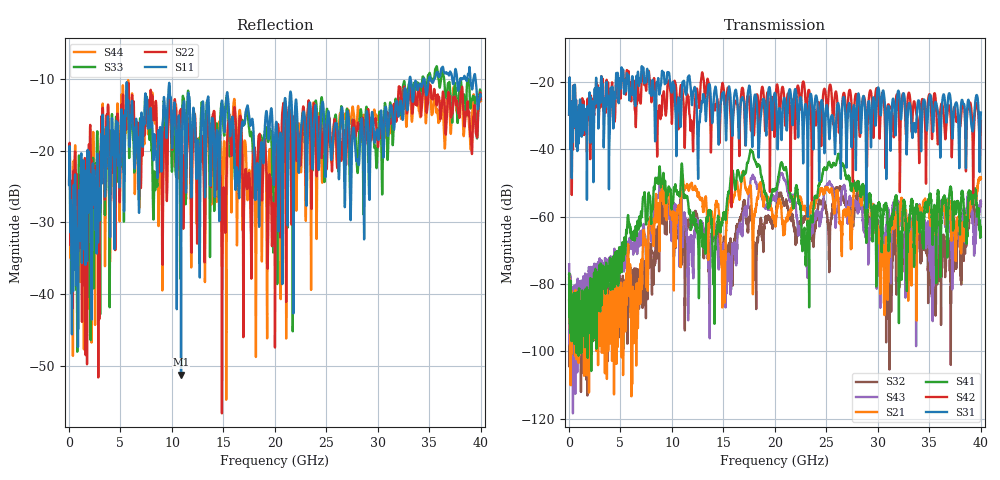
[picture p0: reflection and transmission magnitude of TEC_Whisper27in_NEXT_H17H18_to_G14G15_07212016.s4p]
! TE Connectivity
! H17H18-G14G15_NEXT
!! PART DESCRIPTION: Whisper 27in Megtron 6 HVLP-HVLP-HVLP Channel Model, bulkhead 2.92mm test points
!! MODEL DESCRIPTION: System 4-port S-parameter
!! MODEL STATUS: Measured
!! MODEL GEOMETRY: Channel Model
!! MODEL FREQUENCY RANGE: DC to 40 GHz in 10 MHz frequency steps
!! MODEL EDGE RATE LIMITATION: 12.5 ps (Using conservative 0.5/Fmax rule of thumb)
!! TIME-DOMAIN TRANSFORM CAUTIONS:
!! 1.) Do not simulate transient edge rates faster than the number listed above.  Edge
!!  rates faster than this number contain significant spectral content at frequencies
!!  above the model's highest frequency.
!! 2.) Even when simulating edge rates that are slower than the number listed above, be
!!  aware that the best time resolution possible with a direct iFFT is (1 / 2Fmax).
!!  As a result, time resolution is typically not adequate for most time-domain
!!  simulations unless tricks such as frequency-domain zero-padding and windowing are
!!  used to minimize leakage and aliasing.
!! 3.) Because the model has a uniform frequency step, a direct iFFT will result in an
!!  impulse that that has a time length given by either (1 / Fstep) or (1 / 2Fstep),
!!  depending on the transform being used.  Care has been taken in selecting the
!!  frequency step to ensure a settled impulse response for the model.  Therefore,
!!  convolution with the model's impulse response should present no issues.  However,
!!  if directly concatenating s-parameter models in the frequency domain a user must
!!  either interpolate necessary interim frequencies or complete impulse response
!!  zero-padding.  Impulse response zero-padding is more difficult, but more accurate.
!! PORT DEFINITIONS:
!! Port  1  ----->  Side A  H17  G14  Side B  <-----  Port  2
!! Port  3  ----->  Side A  H18  G15  Side B  <-----  Port  4
! Point-to-Point link (differential)  !
! Connectors:  !
!  1: STRADA Whisper 3.9mm  !
! Materials:  !
!  Backplane: Megtron-6 HVLP  !
!  Daughtercard: Megtron-6 HVLP  !
! Stack-up:  !
!  Backplane: 20 layers, 190mil thick  !
!  Daughtercard: 14 layers, 110mil thick  !
! Trace Length:  !
!  Backplane: 17in  !
!  Daughtercards: 5in  !
! Trace Width:  !
!  Backplane: 5.75-6.25-5.75 mils  !
!  Daughtercards: 6-9-6 mils  !
! Geometry:  !
!  Backplane: Stripline  !
!  Daughtercards: Stripline  !
! Layer Connections:  !
!  Backplane: Layer 16, counterbored(1-6mil stub)  !
!  Daughtercard: Layer 9, counterbored(1-6mil stub) !
! Freq. Range: 0 GHz - 40 GHz  !
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# hz S ma R 50
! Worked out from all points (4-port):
!   4000 points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, 10 MHz to 40 GHz, reference 50 ohm
!   strongest paths, dB at 10 MHz, 10.01 GHz, 20.01 GHz, 30.01 GHz, 40 GHz:
!     S31: -29.6, -22.1, -23.3, -21.6, -29.0
!     S42: -29.7, -31.2, -29.2, -24.5, -31.5
!     S41: -77.0, -55.0, -51.8, -56.4, -66.0
!     S21: -84.8, -61.0, -62.0, -64.8, -48.5
!     S43: -74.1, -61.9, -54.5, -65.6, -55.3
!     S32: -78.2, -61.1, -61.2, -65.3, -56.3
!   lowest |S11| = -51.3 dB at 10.88 GHz (marker M1), VSWR 1.01, Z = 50.3 + j0.0702 ohm
!   |S11| at or under -10 dB: start of sweep to 33.07 GHz; 33.19 GHz to 34.42 GHz (1.236 GHz wide, 3.66 % of centre); 39.48 GHz to end of sweep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
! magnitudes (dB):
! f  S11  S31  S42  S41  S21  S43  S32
! 10 MHz  -24.8  -29.6  -29.7  -77.0  -84.8  -74.1  -78.2
! 10.88 GHz  -51.3  -28.8  -21.0  -47.6  -60.6  -54.5  -56.6
! 14.09 GHz  -19.7  -23.5  -26.8  -74.1  -62.5  -62.0  -64.6
! 17.7 GHz  -15.9  -28.1  -34.0  -40.4  -53.7  -48.4  -58.4
! 27.96 GHz  -21.3  -27.9  -24.6  -51.4  -50.0  -57.8  -53.0
! 30.44 GHz  -17.9  -23.2  -23.1  -62.9  -73.3  -65.6  -65.9
! 40 GHz  -12.4  -29.0  -31.5  -66.0  -48.5  -55.3  -56.3
